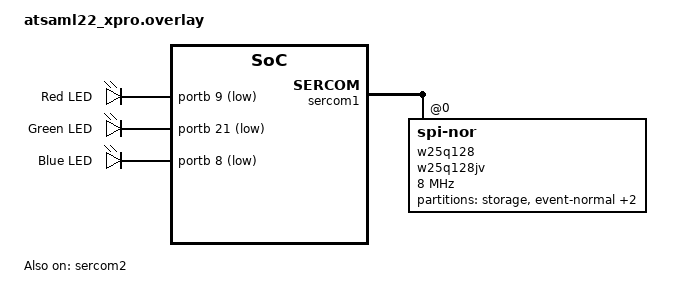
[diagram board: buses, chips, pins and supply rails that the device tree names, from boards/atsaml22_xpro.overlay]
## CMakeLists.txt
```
cmake_minimum_required(VERSION 3.20.0)

#list(APPEND BOARD_ROOT $ENV{ZEPHYR_BASE}/../z9-zephyr)
set(z9-zephyr "${CMAKE_CURRENT_SOURCE_DIR}/../z9-zephyr")
list(APPEND BOARD_ROOT /Users/kent/Projects/z9-lock-zephyr/src/z9-zephyr/boards)
list(APPEND BOARD_ROOT ${z9-zephyr})
#list(APPEND SOC_ROOT   "${z9-zephyr}/soc")
#list(APPEND DTS_ROOT   ${z9-zephyr})

find_package(Zephyr REQUIRED HINTS $ENV{ZEPHYR_BASE})
#set(ZEPHRY_MODULES modules/meta)
#add_subdirectory_ifdef(CONFIG_Z9_GCM_C, aes-gcm)
add_subdirectory(aes-gcm)
include_directories(aes-gcm)

project(z9-lock)

include_directories(SYSTEM ../modules/meta/include)
include_directories(SYSTEM ../modules/crypto/mbedtls/configs)
include_directories(../z9-zephyr/ble)
target_sources(app PRIVATE src/main.cc)
target_sources(app PRIVATE src/button.c)

#target_sources(app PRIVATE ../z9-zephyr/ble/z9_ble_driver.cc)
#target_sources(app PRIVATE ../z9-zephyr/ble/z9lockio_ble.cc)
#target_sources(app PRIVATE ../z9-zephyr/ble/Eros_protocol.cc)
target_sources(app PRIVATE ../z9-zephyr/ble/Z9Lock_status.cc)
target_sources(app PRIVATE ../z9-zephyr/ble/Z9Crypto_gcm.cc)
target_sources(app PRIVATE ../z9-zephyr/ble/Z9Crypto_gcm_KCB.cc)
target_sources(app PRIVATE ../z9-zephyr/ble/EventDb.cc)
target_sources(app PRIVATE ../z9-zephyr/ble/Settings.cc)
target_sources(app PRIVATE ../z9-zephyr/ble/KernelBuffer.c)
target_sources(app PRIVATE ../z9-zephyr/ble/KernelCharacterBuffer.c)
target_sources(app PRIVATE ../z9-zephyr/ble/Z9LockIO_protocol.cc)
target_sources(app PRIVATE ../z9-zephyr/ble/Z9LockIO_bundleHeader.cc)
target_sources(app PRIVATE ../z9-zephyr/ble/Z9LockIO_opaqueContent.cc)
target_sources(app PRIVATE ../z9-zephyr/ble/Z9LockIO_eventControl.cc)
target_sources(app PRIVATE ../z9-zephyr/ble/Z9LockIO_keyExchange.cc)
target_sources(app PRIVATE ../z9-zephyr/ble/Z9LockIO_accessReq.cc)
target_sources(app PRIVATE ../z9-zephyr/ble/Z9LockIO_dbChange.cc)
target_sources(app PRIVATE ../z9-zephyr/ble/Z9LockIO_credAuthorization.cc)
target_sources(app PRIVATE ../z9-zephyr/ble/Z9LockIO_ECDH.cc)

#target_sources(app PRIVATE ../z9-zephyr/ble/DbStore.cc)
target_sources(app PRIVATE ../z9-zephyr/ble/Z9IO_Device.c)
target_sources(app PRIVATE ../z9-zephyr/ble/Z9IO_Link_Controller.cc)
# target_sources(app PRIVATE ../z9-zephyr/ble/Z9IO_Link_Remote.cc)
target_sources(app PRIVATE ../z9-zephyr/ble/ModelInfo.cc)
target_sources(app PRIVATE ../z9-zephyr/ble/Z9IO_Logic.cc)
# target_sources(app PRIVATE src/Z9Crypto.cc src/Z9Crypto_gcm_KCB.cc)
target_sources(app PRIVATE ../z9-zephyr/ble/Crc16.c)
```

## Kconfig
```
menu "Z9Lock"

config Z9_READER
    bool "Enable Reader"
    default n

config Z9_CONTROLLER
    bool "Enable Controller"
    default n
endmenu

menu "Z9 Crypto"

config Z9_GCM_C
    bool "Enable Software GCM"
    default n
rsource "aes-gcm/Kconfig"

endmenu

menu "Zephyr Kernel"
source "Kconfig.zephyr"
endmenu
```

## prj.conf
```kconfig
CONFIG_CPP=y
CONFIG_STD_CPP20=y
CONFIG_CPP_EXCEPTIONS=y
CONFIG_REQUIRES_FULL_LIBCPP=y

CONFIG_KERNEL_BIN_NAME="z9-lock"

#CONFIG_COMPILER_SAVE_TEMPS=y
#CONFIG_COMPILER_OPT="-MD"

CONFIG_CONSOLE=n 
CONFIG_LOG=n

CONFIG_Z9_READER=n
CONFIG_Z9_CONTROLLER=y

CONFIG_Z9_GCM_C=y
CONFIG_ENTROPY_GENERATOR=y

CONFIG_SERIAL=y
CONFIG_UART_INTERRUPT_DRIVEN=y

# configs from ECDH
# The Zephyr CMSIS emulation assumes that ticks are ms, currently
CONFIG_SYS_CLOCK_TICKS_PER_SEC=1000

CONFIG_MAIN_STACK_SIZE=1024
CONFIG_HEAP_MEM_POOL_SIZE=512
CONFIG_SYSTEM_WORKQUEUE_STACK_SIZE=2048

# enable below for Zephyr BLE controller
#CONFIG_BT_LL_SW_SPLIT=y
#CONFIG_BT=y
#CONFIG_BT_PERIPHERAL=y
#CONFIG_BT_SMP=y
#CONFIG_BT_GATT_CLIENT=y


#CONFIG_BT_PERIPHERAL=y
#CONFIG_BT_DEVICE_NAME="Z9 Lock"
#CONFIG_BT_USER_PHY_UPDATE=y


CONFIG_HWINFO=y
#CONFIG_NCS_SAMPLES_DEFAULTS=y

#CONFIG_LOG_BUFFER_SIZE=4096
CONFIG_LOG_BLOCK_IN_THREAD=y
#CONFIG_LOG_MODE_IMMEDIATE=y

# CONFIG_BT_LOG_LEVEL_DBG=n
#CONFIG_BT_DEBUG_MONITOR_UART=y
#CONFIG_UART_CONSOLE=n

# enable NVS
CONFIG_FLASH=y
CONFIG_SPI_NOR_SFDP_RUNTIME=y
CONFIG_FLASH_JESD216_API=y

CONFIG_FCB_ALLOW_FIXED_ENDMARKER=y
CONFIG_FLASH_MAP=y
CONFIG_FCB=y
CONFIG_NVS=y
#CONFIG_NVS_LOG_LEVEL_DBG=y
CONFIG_MPU_ALLOW_FLASH_WRITE=y
CONFIG_SETTINGS=y

#CONFIG_Z9_GCM_C=y

CONFIG_SPI_NOR_FLASH_LAYOUT_PAGE_SIZE=4096
```

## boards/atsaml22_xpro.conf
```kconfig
# Enable MBEDTLS (for Zephyr, not NFC)

CONFIG_Z9_GCM_C=y

CONFIG_ENTROPY_SAM_RNG=y
CONFIG_ENTROPY_GENERATOR=y

#CONFIG_MBEDTLS_ENTROPY_ENABLED=y

#CONFIG_MBEDTLS_PSA_CRYPTO_C=y

CONFIG_MBEDTLS_MAC_MD5_ENABLED=n
CONFIG_MBEDTLS_MAC_SHA1_ENABLED=n
CONFIG_THREAD_LOCAL_STORAGE=y
CONFIG_COMMON_LIBC_MALLOC=y
CONFIG_MBEDTLS_AES_ROM_TABLES=y
CONFIG_MBEDTLS_CIPHER=y
CONFIG_MBEDTLS_CIPHER_AES_ENABLED=y
CONFIG_MBEDTLS_CIPHER_GCM_ENABLED=y
CONFIG_MBEDTLS_CTR_DRBG_ENABLED=y
CONFIG_MBEDTLS_INIT=y
CONFIG_MBEDTLS_MAC_MD5_ENABLED=n
CONFIG_MBEDTLS_MAC_SHA1_ENABLED=n
CONFIG_MBEDTLS_MAC_SHA256_ENABLED=y
CONFIG_MBEDTLS_PK_WRITE_C=y
```

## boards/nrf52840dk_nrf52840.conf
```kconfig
# Enable MBEDTLS (for Zephyr, not NFC)
#CONFIG_MBEDTLS=y
#CONFIG_MBEDTLS_BUILTIN=y

#CONFIG_ENTROPY_GENERATOR=y
#CONFIG_MBEDTLS_PSA_CRYPTO_C=y
#CONFIG_NORDIC_SECURITY_BACKEND=y
#CONFIG_OBERON_BACKEND=y
#CONFIG_NRF_SECURITY=y



#CONFIG_MBEDTLS_MAC_MD5_ENABLED=n
#CONFIG_MBEDTLS_MAC_SHA1_ENABLED=n
#CONFIG_THREAD_LOCAL_STORAGE=y
#CONFIG_COMMON_LIBC_MALLOC=y
#CONFIG_MBEDTLS_AES_ROM_TABLES=y
#CONFIG_MBEDTLS_CIPHER=y
#CONFIG_MBEDTLS_CIPHER_AES_ENABLED=y
#CONFIG_MBEDTLS_CIPHER_GCM_ENABLED=y
#CONFIG_MBEDTLS_CTR_DRBG_ENABLED=y
#CONFIG_MBEDTLS_INIT=y
#CONFIG_MBEDTLS_MAC_MD5_ENABLED=n
#CONFIG_MBEDTLS_MAC_SHA1_ENABLED=n
#CONFIG_MBEDTLS_MAC_SHA256_ENABLED=y
#CONFIG_MBEDTLS_PK_WRITE_C=y
```

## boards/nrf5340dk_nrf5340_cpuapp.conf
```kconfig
# Enable MBEDTLS (for Zephyr, not NFC)
CONFIG_MBEDTLS=y
CONFIG_MBEDTLS_BUILTIN=y
#CONFIG_MBEDTLS_CFG_FILE="config-symmetric-only.h"

#CONFIG_ENTROPY_SAM_RNG=y
CONFIG_ENTROPY_GENERATOR=y
CONFIG_MBEDTLS_ZEPHYR_ENTROPY=y

CONFIG_MBEDTLS_ENTROPY_ENABLED=y

CONFIG_MBEDTLS_PSA_CRYPTO_C=y

CONFIG_MBEDTLS_MAC_MD5_ENABLED=n
CONFIG_MBEDTLS_MAC_SHA1_ENABLED=n
CONFIG_THREAD_LOCAL_STORAGE=y
CONFIG_COMMON_LIBC_MALLOC=y
CONFIG_MBEDTLS_AES_ROM_TABLES=y
CONFIG_MBEDTLS_CIPHER=y
CONFIG_MBEDTLS_CIPHER_AES_ENABLED=y
CONFIG_MBEDTLS_CIPHER_GCM_ENABLED=y
CONFIG_MBEDTLS_CTR_DRBG_ENABLED=y
CONFIG_MBEDTLS_INIT=y
CONFIG_MBEDTLS_MAC_MD5_ENABLED=n
CONFIG_MBEDTLS_MAC_SHA1_ENABLED=n
CONFIG_MBEDTLS_MAC_SHA256_ENABLED=y
CONFIG_MBEDTLS_PK_WRITE_C=y
```

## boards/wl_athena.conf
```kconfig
# Enable MBEDTLS (for Zephyr, not NFC)

CONFIG_Z9_GCM_C=y
CONFIG_REGULATOR=y

CONFIG_ENTROPY_SAM_RNG=y
CONFIG_ENTROPY_GENERATOR=y

#CONFIG_LOG=y
CONFIG_RTT_CONSOLE=y
CONFIG_UART_CONSOLE=n
CONFIG_USE_SEGGER_RTT=y
#CONFIG_LOG_MODE_IMMEDIATE=y

#CONFIG_MBEDTLS_ENTROPY_ENABLED=y

#CONFIG_MBEDTLS_PSA_CRYPTO_C=y

CONFIG_MBEDTLS_MAC_MD5_ENABLED=n
CONFIG_MBEDTLS_MAC_SHA1_ENABLED=n
CONFIG_THREAD_LOCAL_STORAGE=y
CONFIG_COMMON_LIBC_MALLOC=y
CONFIG_MBEDTLS_AES_ROM_TABLES=y
CONFIG_MBEDTLS_CIPHER=y
CONFIG_MBEDTLS_CIPHER_AES_ENABLED=y
CONFIG_MBEDTLS_CIPHER_GCM_ENABLED=y
CONFIG_MBEDTLS_CTR_DRBG_ENABLED=y
CONFIG_MBEDTLS_INIT=y
CONFIG_MBEDTLS_MAC_MD5_ENABLED=n
CONFIG_MBEDTLS_MAC_SHA1_ENABLED=n
CONFIG_MBEDTLS_MAC_SHA256_ENABLED=y
CONFIG_MBEDTLS_PK_WRITE_C=y
```

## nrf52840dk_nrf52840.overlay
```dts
// To get started, press Ctrl+Space (or Option+Esc) to bring up the completion menu and view the available nodes.

// You can also use the buttons in the sidebar to perform actions on nodes.
// Actions currently available include:

// * Enabling / disabling the node
// * Adding the bus to a bus
// * Removing the node
// * Connecting ADC channels

// For more help, browse the DeviceTree documentation at https://docs.zephyrproject.org/latest/guides/dts/index.html
// You can also visit the nRF DeviceTree extension documentation at https://nrfconnect.github.io/vscode-nrf-connect/devicetree/nrfdevicetree.html
/delete-node/ &slot1_partition;
&flash0 {

	partitions {
		compatible = "fixed-partitions";
		#address-cells = <1>;
		#size-cells = <1>;

		event_normal_partition: partition@82000 {
			label = "event-normal";
			reg = <0x00082000 0x00010000>;
		};
		event_priority_partition: partition@92000 {
			label = "event-priority";
			reg = <0x00092000 0x00010000>;
		};
		credentials: partition@a2000 {
			label = "credentials";
			reg = <0x000a2000 0x00056000>;
		};
    };
};

// set UART1 to standard Arduino PINs
/ {
aliases { z9io-serial = &arduino_serial; };
};

&uart1 {
current-speed = <9600>;
status = "okay";
};

&uart1_default {
group1 {
   psels = <NRF_PSEL(UART_RX, 1, 2)>;
   bias-pull-up;
};
group2 {
   psels = <NRF_PSEL(UART_TX , 1, 1)>,
		   <NRF_PSEL(UART_RTS, 1, 3)>;
};
};

&uart1_sleep {
group1 {
   psels = <NRF_PSEL(UART_RX , 1, 2)>,
		   <NRF_PSEL(UART_TX , 1, 1)>,
		   <NRF_PSEL(UART_RTS, 1, 3)>;
   low-power-enable;
};
};
```

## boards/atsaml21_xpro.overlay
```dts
// You can also use the buttons in the sidebar to perform actions on nodes.
// Actions currently available include:

// * Enabling / disabling the node
// * Adding the bus to a bus
// * Removing the node
// * Connecting ADC channels


// /delete-node/ &slot1_partition;

&flash0 {

	partitions {
		compatible = "fixed-partitions";
		#address-cells = <1>;
		#size-cells = <1>;

        storage_partition: partition@20000 {
                label = "storage";
                reg = <0x00020000 0x00008000>;
        };
		event_normal_partition: partition@28000 {
			label = "event-normal";
			reg = <0x00028000 0x0008000>;
		};
		event_priority_partition: partition@30000 {
			label = "event-priority";
			reg = <0x00030000 0x0008000>;
		};
		credentials: partition@38000 {
			label = "credentials";
			reg = <0x00038000 0x0008000>;
		};
    };
};


// set UART1 to standard Arduino PINs
/ {
aliases { z9io-serial = &sercom4; };
};

&sercom4 {
    current-speed = <9600>;
    status = "okay";
};

/* 
&uart1_default {
group1 {
   psels = <NRF_PSEL(UART_RX, 1, 2)>;
   bias-pull-up;
};
group2 {
   psels = <NRF_PSEL(UART_TX , 1, 1)>,
		   <NRF_PSEL(UART_RTS, 1, 3)>;
};
};

&uart1_sleep {
group1 {
   psels = <NRF_PSEL(UART_RX , 1, 2)>,
		   <NRF_PSEL(UART_TX , 1, 1)>,
		   <NRF_PSEL(UART_RTS, 1, 3)>;
   low-power-enable;
};
};
*/
```

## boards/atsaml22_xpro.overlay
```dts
// You can also use the buttons in the sidebar to perform actions on nodes.
// Actions currently available include:

// * Enabling / disabling the node
// * Adding the bus to a bus
// * Removing the node
// * Connecting ADC channels


// /delete-node/ &slot1_partition;

&sercom1 {
	w25q128: w25q128jv@0 {
			compatible = "jedec,spi-nor";
			reg = <0>;
			spi-max-frequency = <8000000>;
			jedec-id = [ef 40 18];
/* 			sfdp-bfp = [e5 20 f1 ff ff ff ff 03 44 eb 08 6b
						08 3b 04 bb ee ff ff ff ff ff 00 ff
						ff ff 00 ff 0c 20 0f 52 10 d8 00 ff
						23 72 f5 00 82 ed 04 cc 44 83 68 44
						30 b0 30 b0 f7 c4 d5 5c 00 be 29 ff
						f0 d0 ff ff];
*/
			size = <134217728>;
			has-dpd;
			t-enter-dpd = <10000>;
			t-exit-dpd = <35000>;
	};
};

&w25q128 {

	partitions {
		compatible = "fixed-partitions";
		#address-cells = <1>;
		#size-cells = <1>;

        storage_partition: partition@20000 {
                label = "storage";
                reg = <0x00020000 0x00008000>;
        };
		event_normal_partition: partition@28000 {
			label = "event-normal";
			reg = <0x00028000 0x0008000>;
		};
		event_priority_partition: partition@30000 {
			label = "event-priority";
			reg = <0x00030000 0x0008000>;
		};
		credentials: partition@38000 {
			label = "credentials";
			reg = <0x00038000 0x0008000>;
		};
    };
};


// set UART1 to standard Arduino PINs
/ {

	leds {
		compatible = "gpio-leds";
		red: red_led0 { 
			gpios = <&portb 9 GPIO_ACTIVE_LOW>;
			label = "Red LED";
		};
		green: green_led0 { 
			gpios = <&portb 21 GPIO_ACTIVE_LOW>;
			label = "Green LED";
		};
		blue: blue_led0 { 
			gpios = <&portb 8 GPIO_ACTIVE_LOW>;
			label = "Blue LED";
		};
	};
	aliases {
		z9io-serial = &sercom2;
		red = &red;
		green = &green;
		blue = &blue;
	};
};

&sercom2 {
    current-speed = <9600>;
    status = "okay";
};
```

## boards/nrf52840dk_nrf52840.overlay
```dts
// nrf5240DK overlay
//
// 1. use mcuboot "slot1" for z9lock flash
// 2. use arduino-serial for z9-io
//
// XXX The flash partition matches dongle.
// XXX Will need to move to external flash to test DFU
//

// NB: these commands declare additional partitions, 
//     without deleting the standard ones (except `slot1`)
/delete-node/ &slot1_partition;
&mx25r64 {
	partitions {
		// declare z9lock flash where `slot1` would be
		compatible = "fixed-partitions";
		#address-cells = <1>;
		#size-cells = <1>;

		event_normal_partition: partition@82000 {
			label = "event-normal";
			reg = <0x00082000 0x00010000>;
		};
		event_priority_partition: partition@92000 {
			label = "event-priority";
			reg = <0x00092000 0x00010000>;
		};
		credentials: partition@a2000 {
			label = "credentials";
			reg = <0x000a2000 0x00056000>;
		};
    };
};

// set Z9IO to arduino-serial (aka uart1)
/ {
	aliases {
		z9io-serial = &arduino_serial;
		red   = &led0;
		green = &led1;
		blue  = &led2;
	};
};

&arduino_serial {
	current-speed = <9600>;
	status = "okay";
};
&rng {
	status = "okay";
};
```

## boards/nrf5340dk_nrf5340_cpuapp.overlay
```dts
// To get started, press Ctrl+Space (or Option+Esc) to bring up the completion menu and view the available nodes.

// You can also use the buttons in the sidebar to perform actions on nodes.
// Actions currently available include:

// * Enabling / disabling the node
// * Adding the bus to a bus
// * Removing the node
// * Connecting ADC channels

// For more help, browse the DeviceTree documentation at https://docs.zephyrproject.org/latest/guides/dts/index.html
// You can also visit the nRF DeviceTree extension documentation at https://nrfconnect.github.io/vscode-nrf-connect/devicetree/nrfdevicetree.html
/delete-node/ &slot1_partition;
&flash0 {

	partitions {
		compatible = "fixed-partitions";
		#address-cells = <1>;
		#size-cells = <1>;

		event_normal_partition: partition@82000 {
			label = "event-normal";
			reg = <0x00082000 0x00010000>;
		};
		event_priority_partition: partition@92000 {
			label = "event-priority";
			reg = <0x00092000 0x00010000>;
		};
		credentials: partition@a2000 {
			label = "credentials";
			reg = <0x000a2000 0x00056000>;
		};
    };
};

// set UART1 to standard Arduino PINs
/ {
    aliases { z9io-serial = &arduino_serial; };

};

&arduino_serial {
    current-speed = <9600>;
    status = "okay";
};

&pinctrl {
    uart1_default: uart1_default {
		group1 {
			psels = <NRF_PSEL(UART_TX, 0, 1)>;
		};
		group2 {
			psels = <NRF_PSEL(UART_RX, 0, 0)>;
			bias-pull-up;
		};
	};

	uart1_sleep: uart1_sleep {
		group1 {
			psels = <NRF_PSEL(UART_TX, 0, 1)>, <NRF_PSEL(UART_RX, 0, 0)>;
			low-power-enable;
		};
	};
};

&i2c1 {
	status = "disabled";
};
&spi1 { status = "disabled"; };

&uart1_default {
	group1 {
		psels = <NRF_PSEL(UART_TX, 0, 4)>;
	};
};

&uart1_default {
	group1 {
		psels = <NRF_PSEL(UART_TX, 0, 4)>, <NRF_PSEL(UART_RX, 0, 5)>;
	};
};

&uart1_default {
	group1 {
		psels = <NRF_PSEL(UART_TX, 0, 4)>, <NRF_PSEL(UART_RX, 0, 5)>, <NRF_PSEL(UART_RTS, 0, 6)>;
	};
};

/ {
	zephyr,user {
		/delete-property/ RTS-gpios;
	};
};

&uart1_sleep {
	group1 {
		psels = <NRF_PSEL(UART_TX, 0, 4)>, <NRF_PSEL(UART_RX, 0, 0)>;
		/delete-property/ low-power-enable;
	};
};

&uart1_sleep {
	group1 {
		psels = <NRF_PSEL(UART_TX, 0, 4)>, <NRF_PSEL(UART_RX, 0, 5)>;
	};
};

&uart1_sleep {
	group1 {
		psels = <NRF_PSEL(UART_TX, 0, 4)>, <NRF_PSEL(UART_RX, 0, 6)>;
	};
};

&uart1_sleep {
	group1 {
		psels = <NRF_PSEL(UART_TX, 0, 5)>, <NRF_PSEL(UART_RX, 0, 6)>;
	};
};

&uart1_default {
	group1 {
		psels = <NRF_PSEL(UART_TX, 0, 4)>, <NRF_PSEL(UART_RTS, 0, 6)>;
	};
};

&uart1_default {
	group1 {
		psels = <NRF_PSEL(UART_TX, 0, 4)>, <NRF_PSEL(UART_RTS, 0, 6)>, <NRF_PSEL(UART_RX, 0, 5)>;
	};
};

&uart1_sleep {
	group1 {
		psels = <NRF_PSEL(UART_RX, 0, 6)>;
	};
};

&uart1_sleep {
	group1 {
		psels = <NRF_PSEL(UART_RX, 0, 5)>;
	};
};

&uart1_default {
	group1 {
		psels = <NRF_PSEL(UART_TX, 0, 4)>, <NRF_PSEL(UART_RTS, 0, 6)>;
	};
};
```

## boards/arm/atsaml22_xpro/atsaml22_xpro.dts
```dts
/*
 * Copyright (c) 2021 Argentum Systems Ltd.
 * KBH 8/17/2023
 *
 * SPDX-License-Identifier: Apache-2.0
 */

/dts-v1/;
#include <atmel/saml22.dtsi>
#include "atsaml22_xpro-pinctrl.dtsi"
#include <zephyr/dt-bindings/input/input-event-codes.h>

/ {
	model = "SAM L22 Xplained Pro";
	compatible = "atsaml22,xpro", "atmel,saml22n18a", "atmel,saml22";

	chosen {
		zephyr,console = &sercom4;
		zephyr,shell-uart = &sercom4;
		zephyr,sram = &sram0;
		zephyr,flash = &flash0;
	};

	/* These aliases are provided for compatibility with samples */
	aliases {
		led0 = &led0;
		pwm-led0 = &pwm_led0;
		sw0 = &user_button;
	};

	leds {
		compatible = "gpio-leds";
		led0: led_0 {
			gpios = <&portc 27 GPIO_ACTIVE_LOW>;
			label = "Yellow LED";
		};
	};

	pwmleds {
		compatible = "pwm-leds";
		pwm_led0: pwm_led_0 {
			pwms = <&tcc0 0 PWM_MSEC(20)>;
		};
	};

	buttons {
		compatible = "gpio-keys";
		user_button: button_0 {
			gpios = <&portc 1 (GPIO_ACTIVE_LOW | GPIO_PULL_UP)>;
			label = "SW0";
			zephyr,code = <INPUT_KEY_0>;
		};
	};
};

&cpu0 {
	clock-frequency = <48000000>;
};

&trng {
	status = "okay";
};
		

&adc {
	status = "okay";
};

&tcc0 {
	status = "okay";
	compatible = "atmel,sam0-tcc-pwm";
	/* Gives a maximum period of 1.4s */
	prescaler = <4>;
	#pwm-cells = <2>;

	pinctrl-0 = <&tcc0_default>;
	pinctrl-names = "default";
};

&sercom0 {
	status = "okay";
	compatible = "atmel,sam0-uart";
	current-speed = <115200>;
	rxpo = <3>;
	txpo = <0>;

	pinctrl-0 = <&sercom0_default>;
	pinctrl-names = "default";
};

&sercom1 {
	status = "okay";
	compatible = "atmel,sam0-spi";
	dipo = <3>;
	dopo = <0>;
	#address-cells = <1>;
	#size-cells = <0>;

	cs-gpios = <&portc 7 GPIO_ACTIVE_LOW>;

	pinctrl-0 = <&sercom1_default>;
	pinctrl-names = "default";
};

&sercom2 {
	status = "okay";
	compatible = "atmel,sam0-uart";
	current-speed = <115200>;
	rxpo = <1>;
	txpo = <0>;

	pinctrl-0 = <&sercom2_default>;
	pinctrl-names = "default";
};

&sercom3 {
	status = "okay";
	compatible = "atmel,sam0-spi";
	dipo = <0>;
	dopo = <1>;
	#address-cells = <1>;
	#size-cells = <0>;
	pinctrl-0 = <&sercom3_default>;
	pinctrl-names = "default";
};

&sercom4 {
	status = "okay";
	compatible = "atmel,sam0-uart";
	current-speed = <115200>;
	rxpo = <3>;
	txpo = <1>;

	pinctrl-0 = <&sercom4_default>;
	pinctrl-names = "default";
};

&sercom5 {
	status = "okay";
	compatible = "atmel,sam0-i2c";
	clock-frequency = <I2C_BITRATE_FAST>;
	#address-cells = <1>;
	#size-cells = <0>;

	pinctrl-0 = <&sercom5_default>;
	pinctrl-names = "default";
};

zephyr_udc0: &usb0 {
	status = "okay";
};
```

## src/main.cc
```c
#include "button.h"
#include "Z9Lock_status.h"
#include "EventDb.h"
#include "Settings.h"
#include "cmsis_core.h"

#ifdef CONFIG_Z9_READER
#include "z9lockio_ble.h"
#endif

#include <zephyr/kernel.h>
#include <zephyr/logging/log.h>

#include <zephyr/sys/printk.h>
#include <zephyr/drivers/gpio.h>


LOG_MODULE_REGISTER(z9_ble, LOG_LEVEL_INF);
#define RUN_LED_BLINK_INTERVAL 1000

#define GREEN_LED_NODE  DT_ALIAS(green)
#define RED_LED_NODE    DT_ALIAS(blue)

static const gpio_dt_spec green_led = GPIO_DT_SPEC_GET(GREEN_LED_NODE, gpios);
static const gpio_dt_spec red_led   = GPIO_DT_SPEC_GET(RED_LED_NODE  , gpios);

static void set_green_led(bool led)
{
        gpio_pin_set_dt(&green_led, led);
}
static void set_red_led(bool led)
{
        gpio_pin_set_dt(&red_led, led);
}
static int init_leds()
{
        int err;
        err = gpio_is_ready_dt(&green_led);
        if (err < 0) return err;
     	err = gpio_pin_configure_dt(&green_led, GPIO_OUTPUT_ACTIVE);
        if (err < 0) return err;
        err = gpio_is_ready_dt(&red_led);
        if (err < 0) return err;
     	err = gpio_pin_configure_dt(&red_led, GPIO_OUTPUT_ACTIVE);
        if (err < 0) return err;
        set_green_led(0);
        set_red_led(1);
        return 0;
}

static void pairing_expired(struct k_work *work)
{
        printk("%s: expired\n", __func__);
        nvm_settings_set_mode();
}

static void perform_reset(struct k_work *work)
{
        printk("%s: expired\n", __func__);
        nvm_settings_reset();           // clear flash
        NVIC_SystemReset();
        
        
        abort();
        uint32_t **vectors = 0;
        using fn_p = void (*)();
        auto fn = reinterpret_cast<fn_p>(vectors[1]);
        fn();
}

static bool door_unlocked;
static void led_motor_off(struct k_work *work)
{
        door_unlocked = false;
        set_green_led(0);
}

K_WORK_DELAYABLE_DEFINE(pairing_timer, pairing_expired);
K_WORK_DELAYABLE_DEFINE(reset_timer  , perform_reset);
K_WORK_DELAYABLE_DEFINE(motor_timer  , led_motor_off);

void led_motor()
{
        door_unlocked = true;
        set_red_led(0);
        set_green_led(1);
        k_work_schedule(&motor_timer, K_SECONDS(6));
}

bool privacy_state;
static void button_changed(button_evt evt)
{
        auto&& lock = z9lock_status;
                
        bool is_pressed = evt == BUTTON_EVT_PRESSED;
        printk("red: is_pressed: %d\n", is_pressed);

        if (is_pressed)
                k_work_schedule(&reset_timer, K_SECONDS(10));
        else 
        {
                k_work_cancel_delayable(&reset_timer);

                // if in paired, then it's the priv button
                if (lock.mode == LockStatusMode::NORMAL)
                {
                        privacy_state ^= 1; //bool(button_state & RED_BUTTON);
                        set_red_led(privacy_state);
                }
                else
                {
                        k_work_schedule(&pairing_timer, K_SECONDS(30));
                        lock.set_mode(LockStatusMode::PAIRING);
                }
        }

        auto lock_mode = static_cast<uint8_t>(lock.mode);
        printk("%s: MODE=%d, PRIV=%d\n", __func__, lock_mode, privacy_state);
}



int main()
{
        int err;

        printk("Starting Z9Lock BLE Test Fixture\n");
        //psa_crypto_init();              // XXX
 

#ifdef CONFIG_Z9_READER 
        // start the Z9 BLE stack
        printk("Initializing Bluetooth\n");
        z9lock_ble_init();
#endif

#ifdef CONFIG_Z9_CONTROLLER
        // LEDs & buttons on READER
        err = init_leds();
        if (err) {
                printk("LEDs init failed (err %d)\n", err);
                return err;
        }

        err = button_init(button_changed);
        if (err) {
                printk("Button init failed (err %d)\n", err);
                //return err;
        }
        
        nvm_settings_init();           // read settings: retrive keys & set mode

        // startup complete -- generate an event
        LockEventDb::instance().save(EVT(LockEvtCode_STARTUP));

        // if in construction or pairing mode, blink LED 
        uint8_t blink_status = 0;
        for (;;)
        {
                auto&& lock = z9lock_status;

                auto led = false;
                ++blink_status;
                switch (lock.mode)
                {
                        case LockStatusMode::PAIRING:
                                blink_status %= 5;
                                // FALLSTHRU
                        case LockStatusMode::CONSTRUCTION:
                                led = blink_status & 1;
                                if (!door_unlocked)
                                        set_red_led(led);
                                break;
                        default:
                                set_red_led(0);
                                return 0;
                }

                k_sleep(K_MSEC(RUN_LED_BLINK_INTERVAL/2));
        }
 #endif       
        // NOTREACHED
}
```
